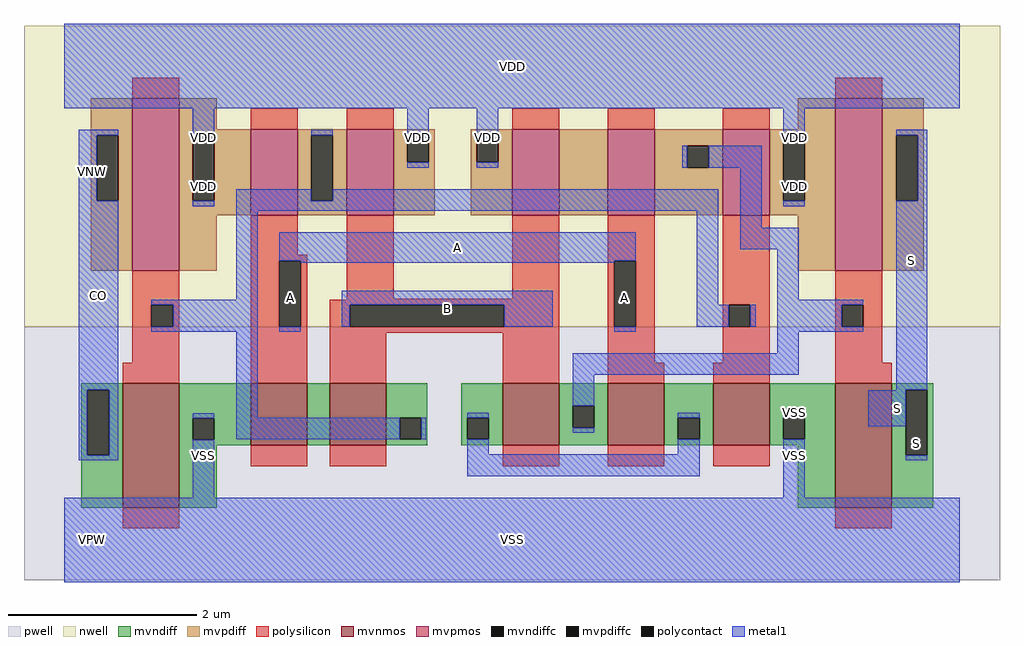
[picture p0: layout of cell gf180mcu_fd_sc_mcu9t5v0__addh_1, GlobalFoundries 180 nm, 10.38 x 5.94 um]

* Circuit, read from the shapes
.subckt gf180mcu_fd_sc_mcu9t5v0__addh_1 A B CO S VDD VNW VPW VSS
XM1 VSS n1 CO VPW nfet_06v0 w=1.32u l=0.6u
XM2 n2 A VSS VPW nfet_06v0 w=0.66u l=0.6u
XM3 n1 B n2 VPW nfet_06v0 w=0.66u l=0.6u
XM4 n3 B n4 VPW nfet_06v0 w=0.66u l=0.6u
XM5 n4 A n3 VPW nfet_06v0 w=0.66u l=0.6u
XM6 VSS n1 n4 VPW nfet_06v0 w=0.66u l=0.6u
XM7 S n3 VSS VPW nfet_06v0 w=1.32u l=0.6u
XM8 VDD n1 CO VNW pfet_06v0 w=1.83u l=0.5u
XM9 n1 A VDD VNW pfet_06v0 w=0.915u l=0.5u
XM10 VDD B n1 VNW pfet_06v0 w=0.915u l=0.5u
XM11 n5 B VDD VNW pfet_06v0 w=0.915u l=0.5u
XM12 n3 A n5 VNW pfet_06v0 w=0.915u l=0.5u
XM13 VDD n1 n3 VNW pfet_06v0 w=0.915u l=0.5u
XM14 S n3 VDD VNW pfet_06v0 w=1.83u l=0.5u
.ends

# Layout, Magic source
magic
tech gf180mcuD
magscale 1 10
<< nwell >>
rect -86 453 1990 1094
<< pwell >>
rect -86 -86 1990 453
<< mvnmos >>
rect 124 69 244 333
rect 396 201 516 333
rect 564 201 684 333
rect 932 201 1052 333
rect 1156 201 1276 333
rect 1380 201 1500 333
rect 1640 69 1760 333
<< mvpmos >>
rect 144 573 244 939
rect 396 691 496 874
rect 600 691 700 874
rect 952 691 1052 874
rect 1156 691 1256 874
rect 1400 691 1500 874
rect 1640 573 1740 939
<< mvndiff >>
rect 36 320 124 333
rect 36 180 49 320
rect 95 180 124 320
rect 36 69 124 180
rect 244 259 396 333
rect 244 213 273 259
rect 319 213 396 259
rect 244 201 396 213
rect 516 201 564 333
rect 684 260 772 333
rect 684 214 713 260
rect 759 214 772 260
rect 684 201 772 214
rect 844 260 932 333
rect 844 214 857 260
rect 903 214 932 260
rect 844 201 932 214
rect 1052 285 1156 333
rect 1052 239 1081 285
rect 1127 239 1156 285
rect 1052 201 1156 239
rect 1276 260 1380 333
rect 1276 214 1305 260
rect 1351 214 1380 260
rect 1276 201 1380 214
rect 1500 260 1640 333
rect 1500 214 1529 260
rect 1575 214 1640 260
rect 1500 201 1640 214
rect 244 69 324 201
rect 1560 69 1640 201
rect 1760 320 1848 333
rect 1760 180 1789 320
rect 1835 180 1848 320
rect 1760 69 1848 180
<< mvpdiff >>
rect 56 861 144 939
rect 56 721 69 861
rect 115 721 144 861
rect 56 573 144 721
rect 244 874 324 939
rect 1560 874 1640 939
rect 244 861 396 874
rect 244 721 273 861
rect 319 721 396 861
rect 244 691 396 721
rect 496 861 600 874
rect 496 721 525 861
rect 571 721 600 861
rect 496 691 600 721
rect 700 849 788 874
rect 700 803 729 849
rect 775 803 788 849
rect 700 691 788 803
rect 864 849 952 874
rect 864 803 877 849
rect 923 803 952 849
rect 864 691 952 803
rect 1052 691 1156 874
rect 1256 838 1400 874
rect 1256 792 1325 838
rect 1371 792 1400 838
rect 1256 691 1400 792
rect 1500 861 1640 874
rect 1500 721 1529 861
rect 1575 721 1640 861
rect 1500 691 1640 721
rect 244 573 324 691
rect 1560 573 1640 691
rect 1740 861 1828 939
rect 1740 721 1769 861
rect 1815 721 1828 861
rect 1740 573 1828 721
<< mvndiffc >>
rect 49 180 95 320
rect 273 213 319 259
rect 713 214 759 260
rect 857 214 903 260
rect 1081 239 1127 285
rect 1305 214 1351 260
rect 1529 214 1575 260
rect 1789 180 1835 320
<< mvpdiffc >>
rect 69 721 115 861
rect 273 721 319 861
rect 525 721 571 861
rect 729 803 775 849
rect 877 803 923 849
rect 1325 792 1371 838
rect 1529 721 1575 861
rect 1769 721 1815 861
<< polysilicon >>
rect 144 939 244 983
rect 1640 939 1740 983
rect 396 874 496 918
rect 600 874 700 918
rect 952 874 1052 918
rect 1156 874 1256 918
rect 1400 874 1500 918
rect 396 607 496 691
rect 396 594 516 607
rect 144 500 244 573
rect 144 454 185 500
rect 231 454 244 500
rect 144 377 244 454
rect 124 333 244 377
rect 396 454 457 594
rect 503 454 516 594
rect 600 513 700 691
rect 952 513 1052 691
rect 600 511 1052 513
rect 396 333 516 454
rect 564 500 1052 511
rect 564 454 607 500
rect 935 454 1052 500
rect 564 441 1052 454
rect 564 333 684 441
rect 932 333 1052 441
rect 1156 594 1256 691
rect 1156 454 1169 594
rect 1215 454 1256 594
rect 1156 377 1256 454
rect 1400 500 1500 691
rect 1400 454 1413 500
rect 1459 454 1500 500
rect 1400 377 1500 454
rect 1156 333 1276 377
rect 1380 333 1500 377
rect 1640 500 1740 573
rect 1640 454 1653 500
rect 1699 454 1740 500
rect 1640 377 1740 454
rect 1640 333 1760 377
rect 396 157 516 201
rect 564 157 684 201
rect 932 157 1052 201
rect 1156 157 1276 201
rect 1380 157 1500 201
rect 124 25 244 69
rect 1640 25 1760 69
<< polycontact >>
rect 185 454 231 500
rect 457 454 503 594
rect 607 454 935 500
rect 1169 454 1215 594
rect 1413 454 1459 500
rect 1653 454 1699 500
<< metal1 >>
rect 0 918 1904 1098
rect 30 861 115 872
rect 30 721 69 861
rect 30 320 115 721
rect 273 861 319 918
rect 525 861 571 872
rect 273 710 319 721
rect 365 721 525 746
rect 729 849 775 918
rect 729 792 775 803
rect 877 849 923 918
rect 1529 861 1575 918
rect 877 792 923 803
rect 1314 792 1325 838
rect 1371 792 1483 838
rect 571 721 1391 746
rect 365 700 1391 721
rect 365 511 411 700
rect 185 500 411 511
rect 231 454 411 500
rect 185 443 411 454
rect 457 594 1215 654
rect 503 590 1169 594
rect 590 500 1039 530
rect 590 454 607 500
rect 935 454 1039 500
rect 1345 500 1391 700
rect 1437 664 1483 792
rect 1529 710 1575 721
rect 1769 861 1835 872
rect 1815 721 1835 861
rect 1437 618 1562 664
rect 1516 511 1562 618
rect 1516 500 1699 511
rect 1345 454 1413 500
rect 1459 454 1470 500
rect 1516 454 1653 500
rect 457 443 503 454
rect 1169 443 1215 454
rect 1516 443 1699 454
rect 30 180 49 320
rect 95 180 115 320
rect 30 169 115 180
rect 273 259 319 270
rect 365 260 411 443
rect 1516 397 1562 443
rect 1081 351 1562 397
rect 1081 285 1127 351
rect 1769 320 1835 721
rect 1769 318 1789 320
rect 857 260 903 271
rect 365 214 713 260
rect 759 214 770 260
rect 1081 228 1127 239
rect 1305 260 1351 271
rect 273 90 319 213
rect 857 182 903 214
rect 1305 182 1351 214
rect 857 136 1351 182
rect 1529 260 1575 271
rect 1710 242 1789 318
rect 1529 90 1575 214
rect 1789 169 1835 180
rect 0 -90 1904 90
<< labels >>
flabel metal1 s 457 590 1215 654 0 FreeSans 200 0 0 0 A
port 1 nsew default input
flabel metal1 s 590 454 1039 530 0 FreeSans 200 0 0 0 B
port 2 nsew default input
flabel metal1 s 30 169 115 872 0 FreeSans 200 0 0 0 CO
port 3 nsew default output
flabel metal1 s 1769 318 1835 872 0 FreeSans 200 0 0 0 S
port 4 nsew default output
flabel metal1 s 0 918 1904 1098 0 FreeSans 200 0 0 0 VDD
port 5 nsew power bidirectional abutment
flabel metal1 s 1529 270 1575 271 0 FreeSans 200 0 0 0 VSS
port 8 nsew ground bidirectional abutment
flabel nwell s 10 734 110 834 0 FreeSans 400 0 0 0 VNW
port 6 nsew power bidirectional
flabel pwell s 10 -50 110 50 0 FreeSans 400 0 0 0 VPW
port 7 nsew ground bidirectional
rlabel metal1 s 1169 443 1215 590 1 A
port 1 nsew default input
rlabel metal1 s 457 443 503 590 1 A
port 1 nsew default input
rlabel metal1 s 1710 242 1835 318 1 S
port 4 nsew default output
rlabel metal1 s 1789 169 1835 242 1 S
port 4 nsew default output
rlabel metal1 s 1529 792 1575 918 1 VDD
port 5 nsew power bidirectional abutment
rlabel metal1 s 877 792 923 918 1 VDD
port 5 nsew power bidirectional abutment
rlabel metal1 s 729 792 775 918 1 VDD
port 5 nsew power bidirectional abutment
rlabel metal1 s 273 792 319 918 1 VDD
port 5 nsew power bidirectional abutment
rlabel metal1 s 1529 710 1575 792 1 VDD
port 5 nsew power bidirectional abutment
rlabel metal1 s 273 710 319 792 1 VDD
port 5 nsew power bidirectional abutment
rlabel metal1 s 1529 90 1575 270 1 VSS
port 8 nsew ground bidirectional abutment
rlabel metal1 s 273 90 319 270 1 VSS
port 8 nsew ground bidirectional abutment
rlabel metal1 s 0 -90 1904 90 1 VSS
port 8 nsew ground bidirectional abutment
<< properties >>
string FIXED_BBOX 0 0 1904 1008
string GDS_END 1109168
string GDS_FILE $PDKPATH/libs.ref/gf180mcu_fd_sc_mcu9t5v0/gds/gf180mcu_fd_sc_mcu9t5v0.gds
string GDS_START 1103710
string LEFclass core
string LEFsite GF018hv5v_green_sc9
string LEFsymmetry X Y
<< end >>
